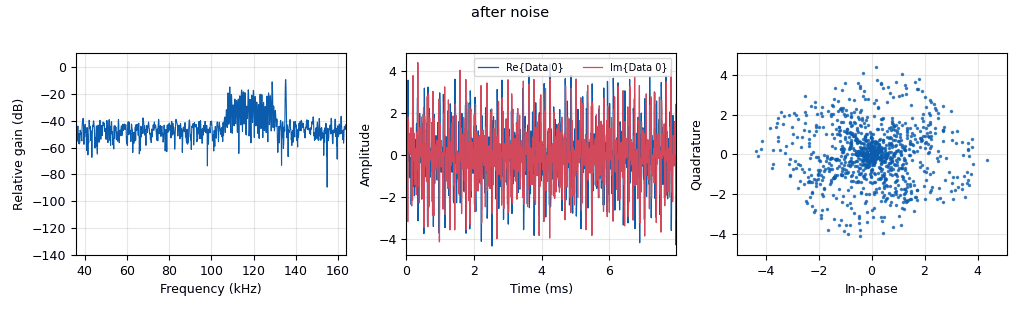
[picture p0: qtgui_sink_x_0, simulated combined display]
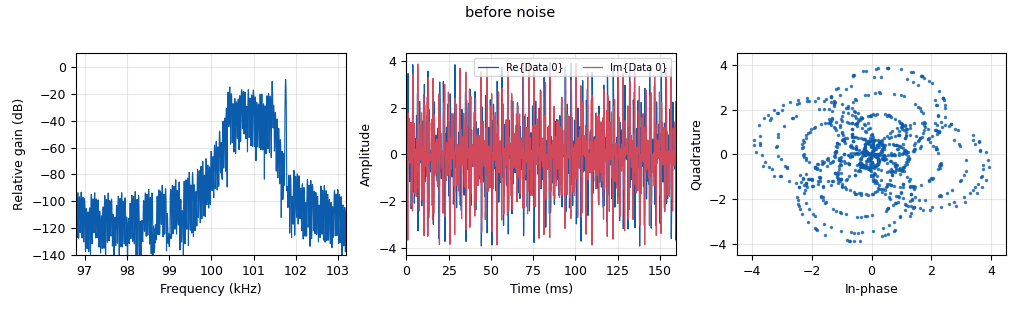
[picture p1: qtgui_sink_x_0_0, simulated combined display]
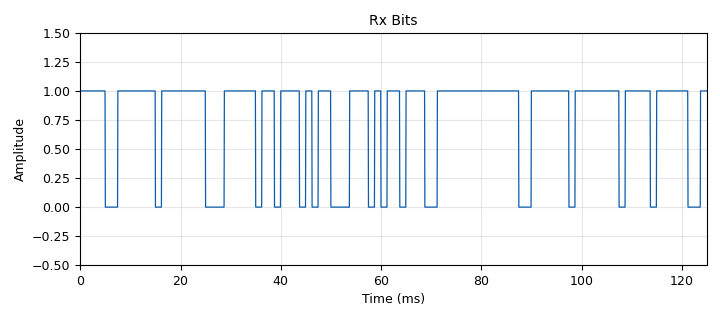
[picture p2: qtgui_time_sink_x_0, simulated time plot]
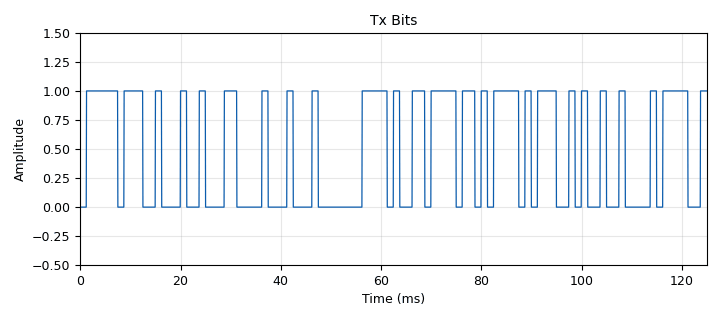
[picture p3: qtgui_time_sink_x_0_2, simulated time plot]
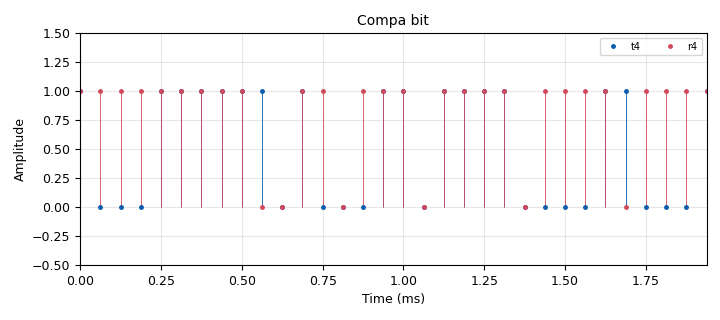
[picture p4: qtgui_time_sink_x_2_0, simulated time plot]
options:
  parameters:
    author: clsor
    generate_options: qt_gui
    id: GFSKloopback
    output_language: python
    title: Not titled yet
  states: {}

blocks:
- name: M
  id: variable
  parameters:
    value: '2'
  states: {}
- name: Pn
  id: variable_qtgui_range
  parameters:
    gui_hint: 2,0,1,1
    label: Potentiel of the noise
    start: '0'
    step: 1/100
    stop: '1'
    value: '0'
  states: {state: disabled}
- name: Rb
  id: variable
  parameters:
    value: '400'
  states: {}
- name: Rs
  id: variable
  parameters:
    value: Rb/bps
  states: {}
- name: Sps
  id: variable
  parameters:
    value: '20'
  states: {}
- name: bps
  id: variable
  parameters:
    value: int(math.log(M,2))
  states: {}
- name: bw
  id: variable
  parameters:
    value: (2**m)*Rb/m
  states: {}
- name: center_freq
  id: variable
  parameters:
    value: '100000'
  states: {}
- name: eb_n0_dB
  id: variable_qtgui_range
  parameters:
    gui_hint: 2,0,1,1
    label: Eb/N0
    start: '-5'
    step: 1/100
    stop: '15'
    value: '15'
  states: {}
- name: fsk_deviation
  id: variable
  parameters:
    value: bw/2
  states: {}
- name: m
  id: variable
  parameters:
    value: '1'
  states: {}
- name: ndisp
  id: variable
  parameters:
    value: '2000'
  states: {}
- name: noise_power
  id: variable
  parameters:
    value: ((sig_power*bw)/Rb)*10**(-eb_n0_dB/10)
  states: {}
- name: num_samples
  id: variable
  parameters:
    value: '1000000'
  states: {}
- name: packet_len
  id: variable
  parameters:
    value: '240'
  states: {}
- name: samp_rate
  id: variable
  parameters:
    value: '16000'
  states: {}
- name: sig_power
  id: variable
  parameters:
    value: '1'
  states: {}
- name: analog_const_source_x_0
  id: analog_const_source_x
  parameters:
    const: '1'
    type: complex
  states: {}
- name: analog_noise_source_x_0
  id: analog_noise_source_x
  parameters:
    amp: math.sqrt(2*noise_power)
    noise_type: analog.GR_GAUSSIAN
    seed: '0'
    type: complex
  states: {}
- name: analog_quadrature_demod_cf_0
  id: analog_quadrature_demod_cf
  parameters:
    gain: '10'
  states: {state: disabled}
- name: analog_random_source_x_0
  id: analog_random_source_x
  parameters:
    comment: Bits Generation
    max: '2'
    min: '0'
    num_samps: num_samples
    repeat: 'False'
    type: byte
  states: {}
- name: analog_random_source_x_0_0
  id: analog_random_source_x
  parameters:
    comment: Bits Generation
    max: '2'
    min: '0'
    num_samps: num_samples
    repeat: 'False'
    type: byte
  states: {state: disabled}
- name: analog_sig_source_x_0
  id: analog_sig_source_x
  parameters:
    amp: '1'
    freq: center_freq+fsk_deviation
    offset: '0'
    phase: '0'
    samp_rate: samp_rate
    type: complex
    waveform: analog.GR_COS_WAVE
  states: {}
- name: analog_sig_source_x_0_0
  id: analog_sig_source_x
  parameters:
    amp: '1'
    freq: center_freq-fsk_deviation
    offset: '0'
    phase: '0'
    samp_rate: samp_rate
    type: complex
    waveform: analog.GR_COS_WAVE
  states: {}
- name: blocks_add_xx_0
  id: blocks_add_xx
  parameters:
    type: complex
  states: {}
- name: blocks_add_xx_1
  id: blocks_add_xx
  parameters:
    type: complex
  states: {}
- name: blocks_char_to_float_0
  id: blocks_char_to_float
  parameters:
    scale: '1'
  states: {}
- name: blocks_char_to_float_0_0_0_0
  id: blocks_char_to_float
  parameters:
    scale: '1'
  states: {}
- name: blocks_char_to_float_0_0_1
  id: blocks_char_to_float
  parameters:
    scale: '1'
  states: {}
- name: blocks_char_to_float_0_1
  id: blocks_char_to_float
  parameters:
    scale: '1'
  states: {}
- name: blocks_char_to_float_0_2
  id: blocks_char_to_float
  parameters:
    scale: '1'
  states: {}
- name: blocks_char_to_float_1
  id: blocks_char_to_float
  parameters:
    scale: '1'
  states: {state: disabled}
- name: blocks_delay_1_0_0_0
  id: blocks_delay
  parameters:
    delay: '0'
    type: byte
  states: {}
- name: blocks_float_to_char_0_0
  id: blocks_float_to_char
  parameters:
    scale: '1'
  states: {}
- name: blocks_multiply_const_vxx_0
  id: blocks_multiply_const_vxx
  parameters:
    const: '0.9'
    type: complex
  states: {state: disabled}
- name: blocks_multiply_xx_0
  id: blocks_multiply_xx
  parameters:
    type: complex
  states: {}
- name: blocks_multiply_xx_0_0
  id: blocks_multiply_xx
  parameters:
    type: complex
  states: {}
- name: blocks_pack_k_bits_bb_0
  id: blocks_pack_k_bits_bb
  parameters:
    k: '8'
  states: {state: bypassed}
- name: blocks_repeat_0
  id: blocks_repeat
  parameters:
    interp: Sps
    type: byte
  states: {}
- name: blocks_repeat_0_0
  id: blocks_repeat
  parameters:
    interp: Sps
    type: byte
  states: {}
- name: blocks_skiphead_0
  id: blocks_skiphead
  parameters:
    num_items: '0'
    type: byte
  states: {}
- name: blocks_skiphead_0_0
  id: blocks_skiphead
  parameters:
    num_items: '0'
    type: byte
  states: {}
- name: blocks_stream_mux_1
  id: blocks_stream_mux
  parameters:
    lengths: '[16,num_samples]'
    type: byte
  states: {state: disabled}
- name: blocks_stream_to_tagged_stream_0
  id: blocks_stream_to_tagged_stream
  parameters:
    len_tag_key: '"packet_len"'
    packet_len: packet_len
    type: byte
  states: {}
- name: blocks_sub_xx_0
  id: blocks_sub_xx
  parameters:
    type: complex
  states: {}
- name: blocks_threshold_ff_0
  id: blocks_threshold_ff
  parameters:
    high: '0.5'
    init: '0'
    low: '0.5'
  states: {}
- name: blocks_throttle2_0
  id: blocks_throttle2
  parameters:
    samples_per_second: samp_rate
    type: complex
  states: {}
- name: blocks_uchar_to_float_0
  id: blocks_uchar_to_float
  parameters: {}
  states: {state: disabled}
- name: blocks_uchar_to_float_1
  id: blocks_uchar_to_float
  parameters: {}
  states: {state: disabled}
- name: blocks_unpacked_to_packed_xx_0
  id: blocks_unpacked_to_packed_xx
  parameters:
    bits_per_chunk: '1'
    endianness: gr.GR_MSB_FIRST
    type: byte
  states: {state: disabled}
- name: blocks_vector_source_x_0
  id: blocks_vector_source_x
  parameters:
    repeat: 'False'
    type: byte
    vector: (1,0, 1, 0, 1, 0, 1, 0, 1,0 ,1,0,  1,0, 1,0)
  states: {state: disabled}
- name: digital_binary_slicer_fb_0
  id: digital_binary_slicer_fb
  parameters: {}
  states: {state: disabled}
- name: digital_clock_recovery_mm_xx_0_0
  id: digital_clock_recovery_mm_xx
  parameters:
    gain_mu: '0.1'
    gain_omega: '0.01'
    mu: '0.5'
    omega: Sps*(1+0.0)
    omega_relative_limit: '0.05'
    type: float
  states: {state: disabled}
- name: digital_gfsk_demod_0
  id: digital_gfsk_demod
  parameters:
    freq_error: '0.0'
    gain_mu: '0.1'
    mu: '0.5'
    omega_relative_limit: '0.005'
    samples_per_symbol: Sps
    sensitivity: '1'
  states: {}
- name: digital_gfsk_mod_0
  id: digital_gfsk_mod
  parameters:
    bt: '0.1'
    samples_per_symbol: Sps
    sensitivity: '1'
  states: {}
- name: digital_gfsk_mod_1
  id: digital_gfsk_mod
  parameters:
    bt: '2'
    samples_per_symbol: Sps
    sensitivity: '1.88'
  states: {state: disabled}
- name: epy_block_0
  id: epy_block
  parameters:
    _source_code: |
      import numpy as np
      from gnuradio import gr

      class inversedB(gr.sync_block):  

          def __init__(self, ): 
              gr.sync_block.__init__(
                  self,
                  name='e_inversedB_ff',
                  in_sig=[np.float32],
                  out_sig=[np.float32]
              )

          def work(self, input_items, output_items):
              x=input_items[0]
              y=output_items[0]
              y[:]=np.power(10,x)
              return len(y)
  states: {}
- name: fec_ber_bf_0
  id: fec_ber_bf
  parameters:
    test_mode: 'False'
  states: {}
- name: freq_xlating_fir_filter_xxx_0
  id: freq_xlating_fir_filter_xxx
  parameters:
    center_freq: center_freq
    decim: '1'
    samp_rate: samp_rate
    taps: firdes.low_pass(1.0,samp_rate,900,300)
    type: ccf
  states: {state: disabled}
- name: import_0
  id: import
  parameters:
    imports: import math
  states: {}
- name: qtgui_number_sink_0
  id: qtgui_number_sink
  parameters:
    graph_type: qtgui.NUM_GRAPH_HORIZ
    name: BER between Tx and Rx
    type: float
  states: {}
- name: qtgui_sink_x_0
  id: qtgui_sink_x
  parameters:
    bw: samp_rate*8
    fc: center_freq
    fftsize: '1024'
    name: after noise
    type: complex
  states: {}
- name: qtgui_sink_x_0_0
  id: qtgui_sink_x
  parameters:
    bw: bw*8
    fc: center_freq
    fftsize: '1024'
    name: before noise
    showrf: 'True'
    type: complex
  states: {}
- name: qtgui_sink_x_1
  id: qtgui_sink_x
  parameters:
    bw: samp_rate
    fc: '0'
    fftsize: '1024'
    type: complex
  states: {state: disabled}
- name: qtgui_time_sink_x_0
  id: qtgui_time_sink_x
  parameters:
    grid: 'True'
    legend: 'False'
    name: Rx Bits
    size: ndisp
    srate: samp_rate
    type: float
    ymax: '1.5'
    ymin: '-0.5'
  states: {}
- name: qtgui_time_sink_x_0_2
  id: qtgui_time_sink_x
  parameters:
    grid: 'True'
    legend: 'False'
    name: Tx Bits
    size: ndisp
    srate: samp_rate
    type: float
    ymax: '1.5'
    ymin: '-0.5'
  states: {}
- name: qtgui_time_sink_x_2_0
  id: qtgui_time_sink_x
  parameters:
    label1: t4
    label2: r4
    marker1: '0'
    marker2: '0'
    name: Compa bit
    nconnections: '2'
    size: 32*bps
    srate: samp_rate
    stemplot: 'True'
    type: float
    width1: '3'
    width2: '3'
    ymax: '1.5'
    ymin: '-0.5'
  states: {}
- name: rational_resampler_xxx_0
  id: rational_resampler_xxx
  parameters:
    decim: '1'
    interp: '10'
    type: ccc
  states: {state: disabled}
- name: virtual_sink_0_0_0_0_0_0_0
  id: virtual_sink
  parameters:
    stream_id: r
  states: {}
- name: virtual_sink_0_0_0_1_0
  id: virtual_sink
  parameters:
    stream_id: t
  states: {}
- name: virtual_source_0_0_0_0_0_0_0
  id: virtual_source
  parameters:
    stream_id: r
  states: {}
- name: virtual_source_0_0_0_0_1
  id: virtual_source
  parameters:
    stream_id: t
  states: {}

connections:
- [analog_const_source_x_0, '0', blocks_sub_xx_0, '0']
- [analog_noise_source_x_0, '0', blocks_add_xx_1, '0']
- [analog_quadrature_demod_cf_0, '0', digital_clock_recovery_mm_xx_0_0, '0']
- [analog_random_source_x_0, '0', blocks_stream_mux_1, '1']
- [analog_random_source_x_0, '0', blocks_stream_to_tagged_stream_0, '0']
- [analog_random_source_x_0, '0', virtual_sink_0_0_0_1_0, '0']
- [analog_random_source_x_0_0, '0', blocks_unpacked_to_packed_xx_0, '0']
- [analog_sig_source_x_0, '0', blocks_multiply_xx_0, '0']
- [analog_sig_source_x_0_0, '0', blocks_multiply_xx_0_0, '1']
- [blocks_add_xx_0, '0', blocks_throttle2_0, '0']
- [blocks_add_xx_1, '0', digital_gfsk_demod_0, '0']
- [blocks_add_xx_1, '0', freq_xlating_fir_filter_xxx_0, '0']
- [blocks_add_xx_1, '0', qtgui_sink_x_0, '0']
- [blocks_char_to_float_0, '0', qtgui_time_sink_x_0_2, '0']
- [blocks_char_to_float_0_0_0_0, '0', blocks_threshold_ff_0, '0']
- [blocks_char_to_float_0_0_1, '0', qtgui_time_sink_x_2_0, '1']
- [blocks_char_to_float_0_1, '0', qtgui_time_sink_x_2_0, '0']
- [blocks_char_to_float_0_2, '0', qtgui_time_sink_x_0, '0']
- [blocks_char_to_float_1, '0', virtual_sink_0_0_0_0_0_0_0, '0']
- [blocks_delay_1_0_0_0, '0', blocks_skiphead_0, '0']
- [blocks_float_to_char_0_0, '0', blocks_skiphead_0_0, '0']
- [blocks_multiply_const_vxx_0, '0', rational_resampler_xxx_0, '0']
- [blocks_multiply_xx_0, '0', blocks_add_xx_0, '0']
- [blocks_multiply_xx_0_0, '0', blocks_add_xx_0, '1']
- [blocks_pack_k_bits_bb_0, '0', blocks_uchar_to_float_1, '0']
- [blocks_pack_k_bits_bb_0, '0', virtual_sink_0_0_0_0_0_0_0, '0']
- [blocks_repeat_0, '0', blocks_char_to_float_0, '0']
- [blocks_repeat_0_0, '0', blocks_char_to_float_0_2, '0']
- [blocks_skiphead_0, '0', blocks_char_to_float_0_1, '0']
- [blocks_skiphead_0, '0', fec_ber_bf_0, '0']
- [blocks_skiphead_0_0, '0', blocks_char_to_float_0_0_1, '0']
- [blocks_skiphead_0_0, '0', fec_ber_bf_0, '1']
- [blocks_stream_mux_1, '0', blocks_stream_to_tagged_stream_0, '0']
- [blocks_stream_mux_1, '0', virtual_sink_0_0_0_1_0, '0']
- [blocks_stream_to_tagged_stream_0, '0', blocks_repeat_0, '0']
- [blocks_stream_to_tagged_stream_0, '0', blocks_uchar_to_float_0, '0']
- [blocks_stream_to_tagged_stream_0, '0', digital_gfsk_mod_0, '0']
- [blocks_sub_xx_0, '0', blocks_multiply_xx_0, '1']
- [blocks_sub_xx_0, '0', blocks_multiply_xx_0_0, '0']
- [blocks_threshold_ff_0, '0', blocks_float_to_char_0_0, '0']
- [blocks_throttle2_0, '0', blocks_add_xx_1, '1']
- [blocks_throttle2_0, '0', qtgui_sink_x_0_0, '0']
- [blocks_uchar_to_float_0, '0', qtgui_time_sink_x_0_2, '0']
- [blocks_uchar_to_float_1, '0', qtgui_time_sink_x_0, '0']
- [blocks_unpacked_to_packed_xx_0, '0', digital_gfsk_mod_1, '0']
- [blocks_vector_source_x_0, '0', blocks_stream_mux_1, '0']
- [digital_binary_slicer_fb_0, '0', blocks_repeat_0_0, '0']
- [digital_binary_slicer_fb_0, '0', virtual_sink_0_0_0_0_0_0_0, '0']
- [digital_clock_recovery_mm_xx_0_0, '0', digital_binary_slicer_fb_0, '0']
- [digital_gfsk_demod_0, '0', blocks_pack_k_bits_bb_0, '0']
- [digital_gfsk_demod_0, '0', blocks_repeat_0_0, '0']
- [digital_gfsk_mod_0, '0', blocks_sub_xx_0, '1']
- [digital_gfsk_mod_1, '0', blocks_multiply_const_vxx_0, '0']
- [epy_block_0, '0', qtgui_number_sink_0, '0']
- [fec_ber_bf_0, '0', epy_block_0, '0']
- [freq_xlating_fir_filter_xxx_0, '0', analog_quadrature_demod_cf_0, '0']
- [freq_xlating_fir_filter_xxx_0, '0', digital_gfsk_demod_0, '0']
- [rational_resampler_xxx_0, '0', qtgui_sink_x_1, '0']
- [virtual_source_0_0_0_0_0_0_0, '0', blocks_char_to_float_0_0_0_0, '0']
- [virtual_source_0_0_0_0_1, '0', blocks_delay_1_0_0_0, '0']

metadata:
  file_format: 1
  grc_version: 3.10.10.0
